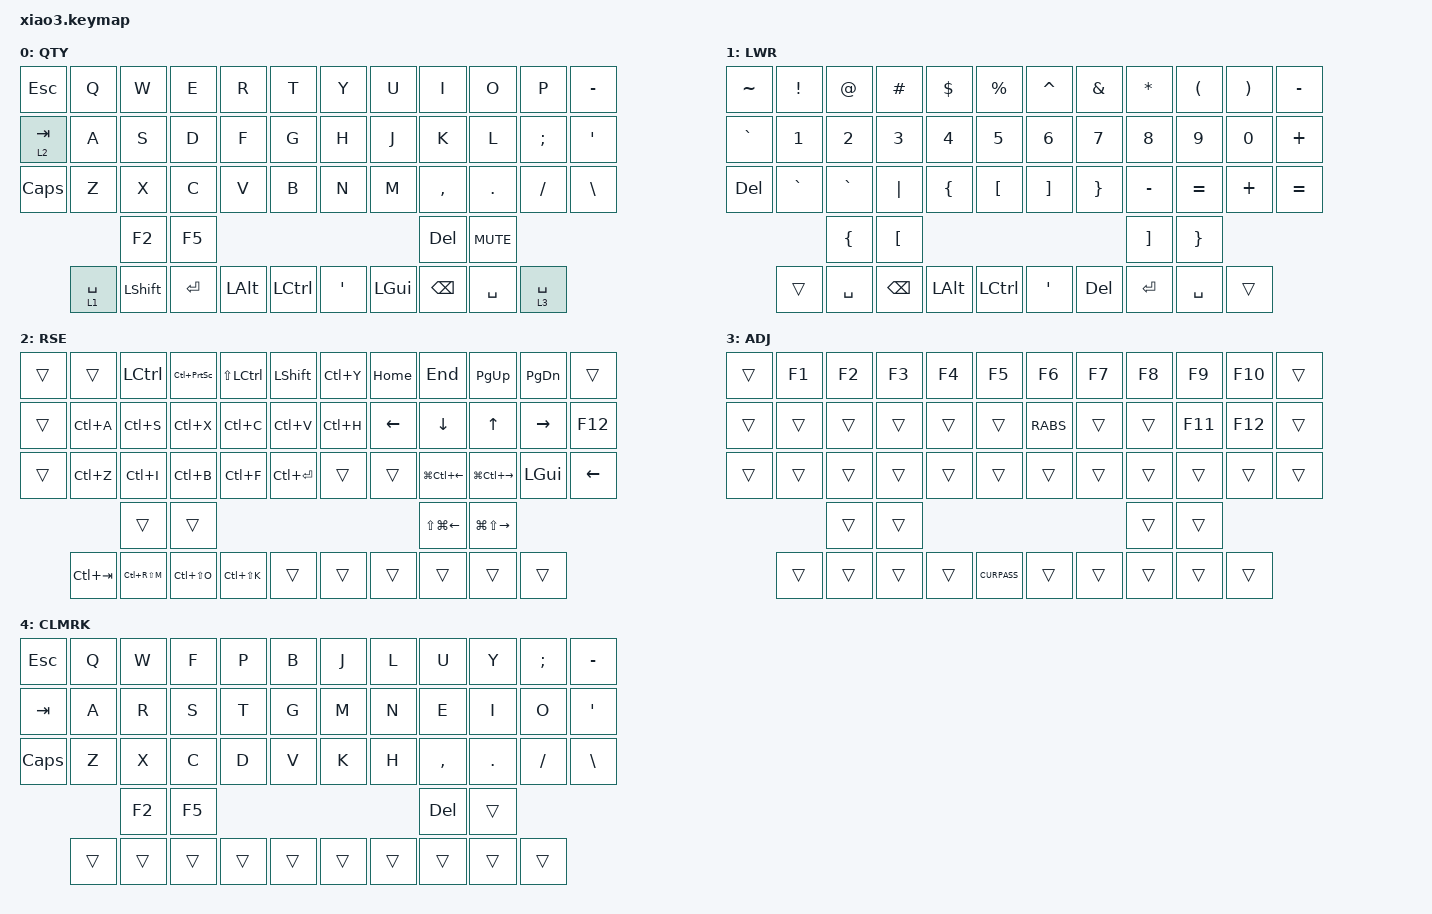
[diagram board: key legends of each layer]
/*
 * Copyright (c) 2020 The ZMK Contributors
 *
 * SPDX-License-Identifier: MIT
 */

#include <behaviors/mouse_keys.dtsi>
#include <behaviors.dtsi>
#include <dt-bindings/zmk/keys.h>

    keymap {
        compatible = "zmk,keymap";

        QTY {
            bindings = <
&kp ESC    &kp Q        &kp W      &kp E      &kp R     &kp T        &kp Y    &kp U     &kp I      &kp O       &kp P        &kp MINUS
&lt 2 TAB  &kp A        &kp S      &kp D      &kp F     &kp G        &kp H    &kp J     &kp K      &kp L       &kp SEMI     &kp APOS
&kp CAPS   &kp Z        &kp X      &kp C      &kp V     &kp B        &kp N    &kp M     &kp COMMA  &kp DOT     &kp FSLH     &kp BSLH
                        &kp F2     &kp F5                                               &kp DEL    &kp K_MUTE
           &lt 1 SPACE  &kp LSHFT  &kp ENTER  &kp LALT  &kp LCTRL    &kp SQT  &kp LGUI  &kp BSPC   &kp SPACE   &lt 3 SPACE
            >;
        };

        LWR {
            bindings = <
&kp TILDE  &kp EXCL   &kp AT          &kp POUND  &kp DLLR        &kp PRCNT    &kp CARET  &kp AMPS         &kp STAR   &kp LPAR         &kp RPAR  &kp MINUS
&kp GRAVE  &kp N1     &kp N2          &kp N3     &kp N4          &kp N5       &kp N6     &kp N7           &kp N8     &kp N9           &kp N0    &kp PLUS
&kp DEL    &kp GRAVE  &kp GRAVE       &kp PIPE   &kp LEFT_BRACE  &kp LBKT     &kp RBKT   &kp RIGHT_BRACE  &kp MINUS  &kp EQUAL        &kp PLUS  &kp EQUAL
                      &kp LEFT_BRACE  &kp LBKT                                                            &kp RBKT   &kp RIGHT_BRACE
           &trans     &kp SPACE       &kp BSPC   &kp LALT        &kp LCTRL    &kp SQT    &kp DEL          &kp RET    &kp SPACE        &trans
            >;
        };

        RSE {
            bindings = <
&trans  &trans       &kp LCTRL      &kp LC(PRINTSCREEN)  &kp LS(LCTRL)  &kp LSHFT      &kp LC(Y)  &kp HOME  &kp END           &kp PG_UP          &kp PG_DN  &trans
&trans  &kp LC(A)    &kp LC(S)      &kp LC(X)            &kp LC(C)      &kp LC(V)      &kp LC(H)  &kp LEFT  &kp DOWN          &kp UP             &kp RIGHT  &kp F12
&trans  &kp LC(Z)    &kp LC(I)      &kp LC(B)            &kp LC(F)      &kp LC(RET)    &trans     &trans    &kp LG(LC(LEFT))  &kp LG(LC(RIGHT))  &kp LGUI   &kp LEFT
                     &trans         &trans                                                                  &kp LS(LG(LEFT))  &kp LG(LS(RIGHT))
        &kp LC(TAB)  &kp LC(RS(M))  &kp LC(LS(O))        &kp LC(LS(K))  &trans         &trans     &trans    &trans            &trans             &trans
            >;
        };

        ADJ {
            bindings = <
&trans  &kp F1  &kp F2  &kp F3  &kp F4  &kp F5      &kp F6  &kp F7  &kp F8  &kp F9   &kp F10  &trans
&trans  &trans  &trans  &trans  &trans  &trans      &RABS   &trans  &trans  &kp F11  &kp F12  &trans
&trans  &trans  &trans  &trans  &trans  &trans      &trans  &trans  &trans  &trans   &trans   &trans
                &trans  &trans                                      &trans  &trans
        &trans  &trans  &trans  &trans  &CURPASS    &trans  &trans  &trans  &trans   &trans
            >;
        };

        CLMRK {
            bindings = <
&kp ESC   &kp Q   &kp W   &kp F   &kp P   &kp B     &kp J   &kp L   &kp U      &kp Y    &kp SEMI  &kp MINUS
&kp TAB   &kp A   &kp R   &kp S   &kp T   &kp G     &kp M   &kp N   &kp E      &kp I    &kp O     &kp APOS
&kp CAPS  &kp Z   &kp X   &kp C   &kp D   &kp V     &kp K   &kp H   &kp COMMA  &kp DOT  &kp FSLH  &kp BSLH
                  &kp F2  &kp F5                                    &kp DEL    &trans
          &trans  &trans  &trans  &trans  &trans    &trans  &trans  &trans     &trans   &trans
            >;
        };
    };
};
